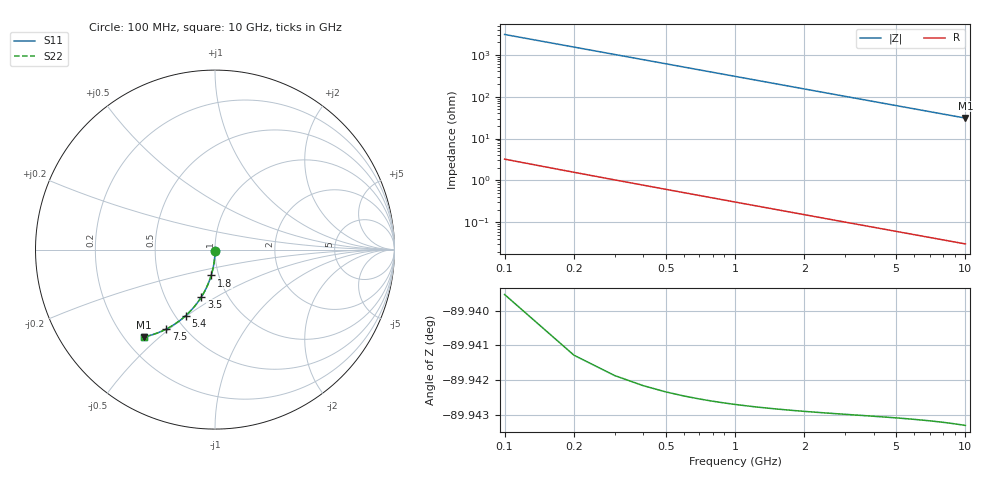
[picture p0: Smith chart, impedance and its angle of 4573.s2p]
# Hz S RI R 50.00
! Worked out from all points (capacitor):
!   100 points, 100 MHz to 10 GHz, reference 50 ohm
!   read as one part in shunt: C = 521 fF near 100 MHz
!   lowest |Z| = 30.8 ohm at 10 GHz (marker M1)
!   S11 on the Smith chart (normalised r, x): 100 MHz: 1.00, -0.02; 1.8 GHz: 0.92, -0.27; 3.5 GHz: 0.75, -0.43; 5.4 GHz: 0.56, -0.49; 7.5 GHz: 0.40, -0.49; 10 GHz: 0.28, -0.44
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1e8  -6.65e-05 -0.00816  0.9999 -0.00821  0.9999 -0.00821  -6.65e-05 -0.00816
2e8  -0.000276 -0.0163  0.9997 -0.0164  0.9997 -0.0164  -0.000276 -0.0163
3e8  -0.000618 -0.0245  0.9994 -0.0246  0.9994 -0.0246  -0.000618 -0.0245
4e8  -0.00109 -0.0326  0.9989 -0.0328  0.9989 -0.0328  -0.00109 -0.0326
5e8  -0.0017 -0.0408  0.9983 -0.041  0.9983 -0.041  -0.0017 -0.0408
6e8  -0.00245 -0.0489  0.9975 -0.0491  0.9975 -0.0491  -0.00245 -0.0489
8e8  -0.00432 -0.065  0.9957 -0.0654  0.9957 -0.0654  -0.00432 -0.065
1.1e9  -0.00812 -0.0891  0.9919 -0.0895  0.9919 -0.0895  -0.00812 -0.0891
1.4e9  -0.0131 -0.1128  0.9869 -0.1133  0.9869 -0.1133  -0.0131 -0.1128
1.8e9  -0.0213 -0.1437  0.9786 -0.1445  0.9786 -0.1445  -0.0213 -0.1437
2.1e9  -0.0288 -0.1663  0.9712 -0.1672  0.9712 -0.1672  -0.0288 -0.1663
2.5e9  -0.0403 -0.1956  0.9597 -0.1967  0.9597 -0.1967  -0.0403 -0.1956
2.9e9  -0.0534 -0.2237  0.9466 -0.2249  0.9466 -0.2249  -0.0534 -0.2237
3.4e9  -0.0719 -0.2571  0.9281 -0.2585  0.9281 -0.2585  -0.0719 -0.2571
3.5e9  -0.0758 -0.2635  0.9242 -0.2649  0.9242 -0.2649  -0.0758 -0.2635
4.3e9  -0.11 -0.3115  0.89 -0.3133  0.89 -0.3133  -0.11 -0.3115
5.1e9  -0.1478 -0.3534  0.8521 -0.3555  0.8521 -0.3555  -0.1478 -0.3534
5.4e9  -0.1627 -0.3675  0.8372 -0.3698  0.8372 -0.3698  -0.1627 -0.3675
6.7e9  -0.2298 -0.4188  0.7701 -0.4217  0.7701 -0.4217  -0.2298 -0.4188
7.5e9  -0.2718 -0.4428  0.7281 -0.446  0.7281 -0.446  -0.2718 -0.4428
8.4e9  -0.3186 -0.4636  0.6814 -0.4672  0.6814 -0.4672  -0.3186 -0.4636
1e10  -0.3979 -0.4868  0.6021 -0.4911  0.6021 -0.4911  -0.3979 -0.4868
